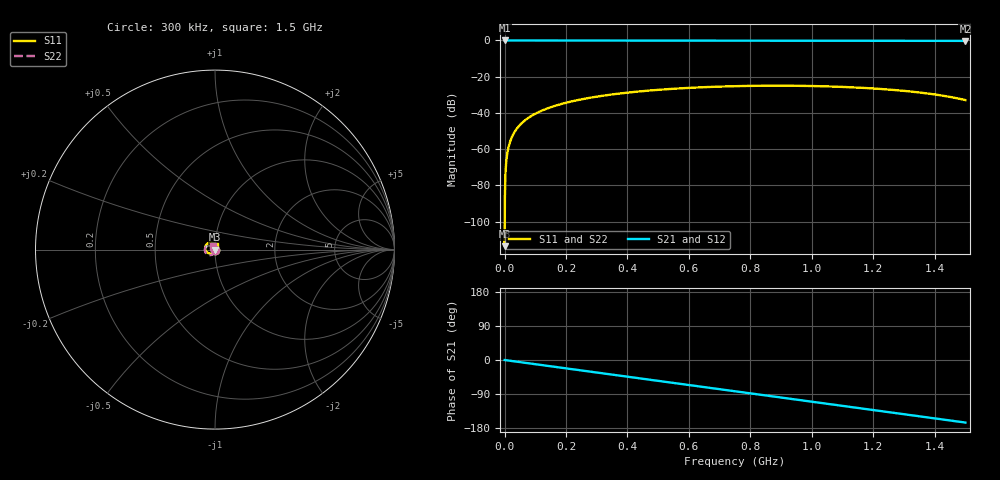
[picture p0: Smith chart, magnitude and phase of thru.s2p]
! TOUCHSTONE file generated by CST MICROWAVE STUDIO
! Date and time: Sun Oct 12 17:45:38 2025
! Project name: calkit_sim.cst
! Parameters = {Rgap=0.9; ceq=6.5e-14; cu_t=0.035; dut_x=83.3333; k=7.07; leq=1.1e-09; line_gap=0.9; line_w=2.5; match_x=66.6667; open_x=16.6667; pad_g=1; pad_x=1.45; pad_z=0.9; ref_1=23.3333; ref_2=16.6667; res_h=0.32; res_len=1; res_w=0.5; short_x=33.3333; sus_l=100; sus_t=1.6; sus_w=40; thru_x=50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
! Header version: 2015
! Port assignment regex: !\s*Touchstone port\s*([0-9]+)\s*=\s*CST MWS port\s*([0-9]+)\s*\(\"(.*)\"\)(\s*mode\s*([0-9]+))?.*
! Touchstone port assignment:
! Touchstone port 1 = CST MWS port 1 ("")
! Touchstone port 2 = CST MWS port 2 ("")
# GHz S DB R 50
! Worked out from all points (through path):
!   5000 points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, 300 kHz to 1.5 GHz, reference 50 ohm
!   highest |S21| = 0.00 dB at 900 kHz (marker M1); lowest = -0.2 dB at 1.5 GHz (marker M2)
!   group delay of S21, straight-line fit = 305 ps
!   lowest |S11| = -113.6 dB at 600 kHz (marker M3), VSWR 1.00, Z = 50 - j0.000206 ohm
!   |S11| at or under -10 dB: start of sweep to end of sweep
!   |S22| runs from -111.2 to -25.0 dB; largest |S21 - S12| = 0
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0.0003  -111.17 151.9  -0.00 -0.0  -0.00 -0.0  -105.73 14.5
0.0006  -113.61 -80.8  -0.00 -0.1  -0.00 -0.1  -111.21 -48.6
0.0009  -92.90 -113.8  -0.00 -0.1  -0.00 -0.1  -92.56 -61.8
0.0111  -60.48 -104.7  -0.00 -1.2  -0.00 -1.2  -60.49 -77.9
0.0177  -56.14 -104.3  -0.00 -2.0  -0.00 -2.0  -56.14 -79.8
0.024  -53.35 -104.2  -0.00 -2.7  -0.00 -2.7  -53.36 -81.3
0.0318  -50.80 -104.5  -0.01 -3.5  -0.01 -3.5  -50.80 -82.8
0.0531  -46.17 -105.8  -0.01 -5.9  -0.01 -5.9  -46.17 -86.2
0.0849  -41.95 -108.7  -0.02 -9.4  -0.02 -9.4  -41.96 -90.3
0.1275  -38.33 -113.1  -0.03 -14.1  -0.03 -14.1  -38.34 -95.3
0.1824  -35.20 -119.2  -0.04 -20.1  -0.04 -20.1  -35.21 -101.3
0.2505  -32.51 -126.8  -0.05 -27.6  -0.05 -27.6  -32.52 -108.7
0.363  -29.54 -139.4  -0.07 -40.0  -0.07 -40.0  -29.55 -120.8
0.5004  -27.26 -154.9  -0.09 -55.1  -0.09 -55.1  -27.27 -135.5
0.627  -25.96 -169.2  -0.11 -69.0  -0.11 -69.0  -25.97 -149.0
0.7503  -25.24 176.9  -0.13 -82.6  -0.13 -82.6  -25.24 -162.1
0.8745  -24.98 162.8  -0.15 -96.2  -0.15 -96.2  -24.98 -175.1
1.0002  -25.16 148.3  -0.17 -110.0  -0.17 -110.0  -25.16 171.8
1.1217  -25.81 134.2  -0.18 -123.4  -0.18 -123.4  -25.80 159.4
1.2501  -27.11 118.8  -0.20 -137.5  -0.20 -137.5  -27.09 146.7
1.3866  -29.50 101.4  -0.22 -152.6  -0.22 -152.6  -29.46 134.3
1.5  -32.92 84.7  -0.23 -165.1  -0.23 -165.1  -32.83 126.6
